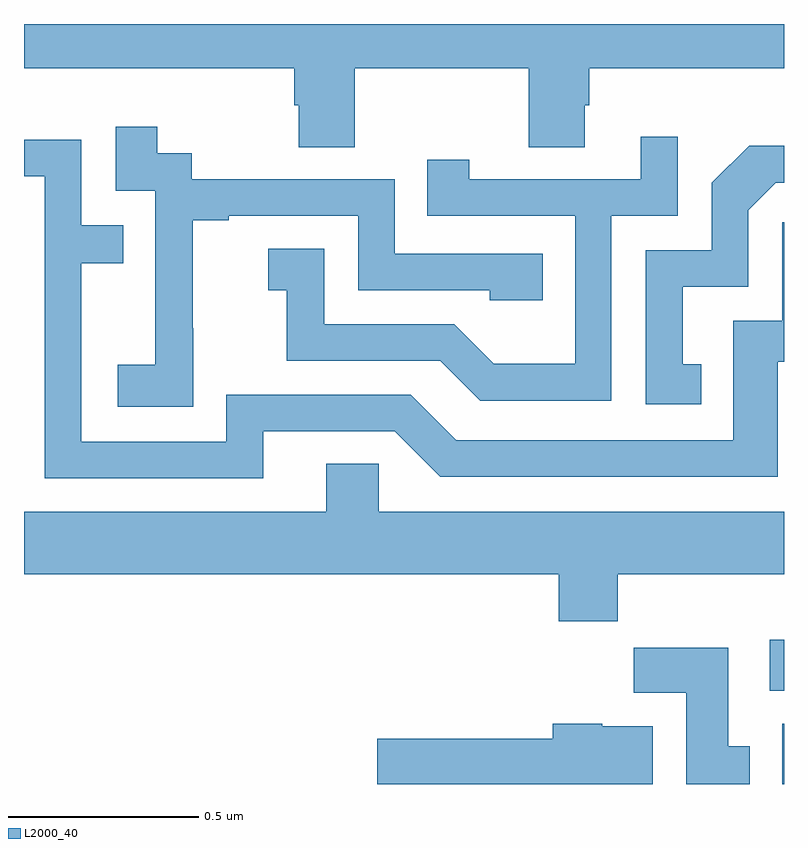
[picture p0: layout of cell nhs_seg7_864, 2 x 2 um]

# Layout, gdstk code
import gdstk
lib = gdstk.Library(unit=1e-6, precision=1e-09)
def R(c, l, rs):  # rectangles x0, y0, x1, y1
    for r in rs: c.add(gdstk.rectangle(r[:2], r[2:], *l))
def P(c, l, *ps):  # polygons
    for p in ps: c.add(gdstk.Polygon(p, *l))
L2000_40 = (2000, 40)

nhs_seg7_864 = lib.new_cell('nhs_seg7_864')
R(nhs_seg7_864, L2000_40, [(123.995,1064,124,1064.158), (123.963,1064.246,124,1064.38)])
P(nhs_seg7_864, L2000_40, [(122.871,1065.884),(123.328,1065.884),(123.328,1065.676),(123.475,1065.676),(123.475,1065.786),(123.488,1065.786),(123.488,1065.884),(124,1065.884),(124,1066),(122,1066),(122,1065.884),(122.711,1065.884),(122.711,1065.786),(122.723,1065.786),(122.723,1065.676),(122.871,1065.676)],
  [(122.445,1065.199),(122.444,1065.199),(122.444,1065.483),(122.539,1065.483),(122.539,1065.495),(122.88,1065.495),(122.88,1065.3),(123.225,1065.3),(123.225,1065.273),(123.365,1065.273),(123.365,1065.396),(122.976,1065.396),(122.976,1065.591),(122.442,1065.591),(122.442,1065.66),(122.35,1065.66),(122.35,1065.73),(122.241,1065.73),(122.241,1065.561),(122.346,1065.561),(122.346,1065.332),(122.345,1065.332),(122.345,1065.103),(122.247,1065.103),(122.247,1064.993),(122.445,1064.993)],
  [(123.546,1065.495),(123.72,1065.495),(123.72,1065.703),(123.623,1065.703),(123.623,1065.591),(123.172,1065.591),(123.172,1065.643),(123.061,1065.643),(123.061,1065.495),(123.45,1065.495),(123.45,1065.106),(123.236,1065.106),(123.132,1065.21),(122.79,1065.21),(122.79,1065.409),(122.643,1065.409),(122.643,1065.299),(122.692,1065.299),(122.692,1065.114),(123.095,1065.114),(123.2,1065.009),(123.546,1065.009)],
  [(122.629,1064.928),(122.976,1064.928),(123.096,1064.808),(123.983,1064.808),(123.983,1065.111),(124,1065.111),(124,1065.478),(123.996,1065.478),(123.996,1065.219),(123.867,1065.219),(123.867,1064.904),(123.138,1064.904),(123.018,1065.024),(122.532,1065.024),(122.532,1064.901),(122.151,1064.901),(122.151,1065.37),(122.261,1065.37),(122.261,1065.471),(122.151,1065.471),(122.151,1065.696),(122,1065.696),(122,1065.6),(122.055,1065.6),(122.055,1064.805),(122.629,1064.805)],
  [(123.782,1065.105),(123.733,1065.105),(123.733,1065.309),(123.906,1065.309),(123.906,1065.51),(123.978,1065.582),(124,1065.582),(124,1065.68),(123.908,1065.68),(123.81,1065.582),(123.81,1065.405),(123.636,1065.405),(123.636,1065),(123.782,1065)],
  [(123.563,1064.552),(124,1064.552),(124,1064.716),(122.934,1064.716),(122.934,1064.843),(122.795,1064.843),(122.795,1064.716),(122,1064.716),(122,1064.552),(123.407,1064.552),(123.407,1064.428),(123.563,1064.428)],
  [(123.91,1064.1),(123.853,1064.1),(123.853,1064.359),(123.604,1064.359),(123.604,1064.24),(123.743,1064.24),(123.743,1064),(123.91,1064)],
  [(123.655,1064.152),(123.522,1064.152),(123.522,1064.158),(123.392,1064.158),(123.392,1064.119),(122.93,1064.119),(122.93,1064),(123.655,1064)])

lib.write_gds('nhs_seg7_864.gds')
